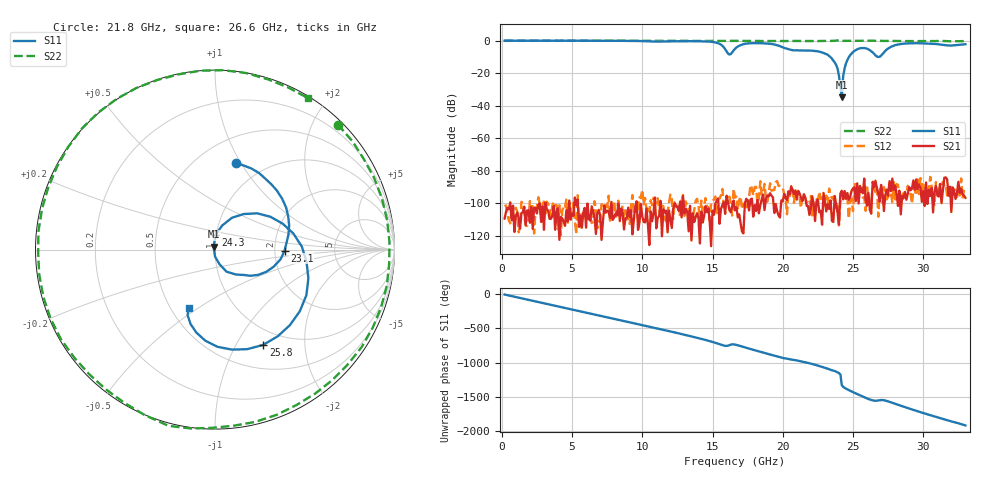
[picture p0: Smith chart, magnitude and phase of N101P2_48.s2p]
# GHZ S RI R 50
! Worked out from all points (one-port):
!   329 points, 200 MHz to 33 GHz, reference 50 ohm
!   lowest |S11| = -34.8 dB at 24.2 GHz (marker M1), VSWR 1.04, Z = 49.2 + j1.64 ohm
!   |S11| at or under -10 dB: 23.38 GHz to 24.71 GHz (1.331 GHz wide, 5.53 % of centre); 26.7877 GHz to 26.82442 GHz (36.71 MHz wide, 0.137 % of centre)
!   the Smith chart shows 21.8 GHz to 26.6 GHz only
!   S11 on the Smith chart (normalised r, x): 21.8 GHz: 0.75, +0.96; 23.1 GHz: 2.26, -0.03; 24.3 GHz: 0.99, +0.16; 25.8 GHz: 0.79, -1.30; 26.6 GHz: 0.62, -0.46
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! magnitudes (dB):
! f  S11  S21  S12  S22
! 200 MHz  0.0  -109.3  -101.8  0.0
! 5.7 GHz  0.0  -114.9  -104.7  0.0
! 11.2 GHz  -0.6  -107.9  -103.6  -0.1
! 15.1 GHz  -0.9  -107.0  -97.5  -0.1
! 15.7 GHz  -3.1  -101.0  -91.1  0.0
! 16.2 GHz  -8.5  -104.1  -95.8  -0.1
! 16.6 GHz  -5.0  -104.2  -96.4  -0.1
! 18.4 GHz  -1.5  -101.2  -86.4  -0.2
! 21.8 GHz  -6.1  -101.5  -99.1  -0.2
! 22.1 GHz  -6.2  -95.6  -107.4  -0.2
! 23.1 GHz  -8.2  -104.9  -95.2  -0.2
! 23.9 GHz  -17.1  -105.8  -99.2  0.1
! 24.2 GHz  -34.8  -92.2  -98.0  -0.1
! 24.3 GHz  -21.8  -97.5  -98.7  -0.1
! 24.5 GHz  -13.9  -97.2  -95.0  -0.1
! 24.8 GHz  -8.9  -95.8  -98.8  -0.1
! 25.8 GHz  -4.5  -84.7  -96.0  0.0
! 26.6 GHz  -9.0  -86.0  -93.1  -0.1
! 26.9 GHz  -9.9  -98.9  -91.8  -0.1
! 27.6 GHz  -4.3  -86.3  -93.8  -0.2
! 29 GHz  -1.6  -90.0  -91.6  -0.2
! 33 GHz  -2.2  -96.6  -91.4  -0.2
